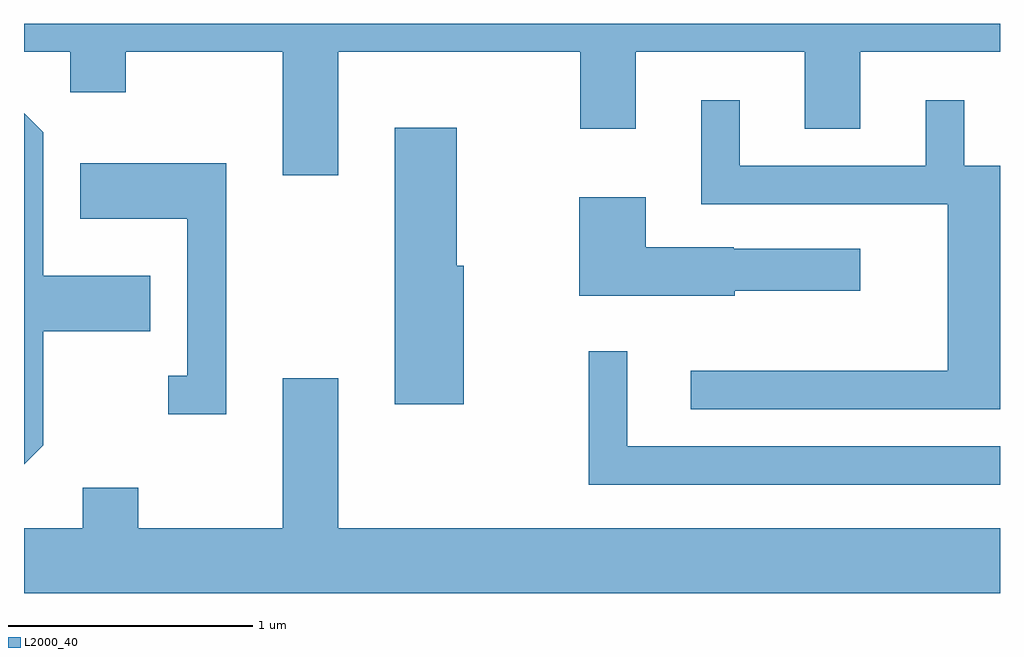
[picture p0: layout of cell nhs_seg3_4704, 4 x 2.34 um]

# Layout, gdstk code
import gdstk
lib = gdstk.Library(unit=1e-6, precision=1e-09)
def P(c, l, *ps):  # polygons
    for p in ps: c.add(gdstk.Polygon(p, *l))
L2000_40 = (2000, 40)

nhs_seg3_4704 = lib.new_cell('nhs_seg3_4704')
P(nhs_seg3_4704, L2000_40, [(324.899,1143.776),(325.891,1143.776),(325.891,1143.461),(326.119,1143.461),(326.119,1143.776),(326.811,1143.776),(326.811,1143.461),(327.039,1143.461),(327.039,1143.776),(327.611,1143.776),(327.611,1143.892),(323.611,1143.892),(323.611,1143.776),(323.801,1143.776),(323.801,1143.611),(324.029,1143.611),(324.029,1143.776),(324.671,1143.776),(324.671,1143.271),(324.899,1143.271)],
  [(327.611,1143.309),(327.464,1143.309),(327.464,1143.578),(327.306,1143.578),(327.306,1143.309),(326.544,1143.309),(326.544,1143.578),(326.386,1143.578),(326.386,1143.151),(327.396,1143.151),(327.396,1142.469),(326.343,1142.469),(326.343,1142.311),(327.611,1142.311)],
  [(323.689,1142.164),(323.689,1142.631),(324.129,1142.631),(324.129,1142.859),(323.689,1142.859),(323.689,1143.447),(323.611,1143.525),(323.611,1142.086)],
  [(325.414,1142.899),(325.384,1142.899),(325.384,1143.464),(325.131,1143.464),(325.131,1142.331),(325.414,1142.331)],
  [(324.439,1143.319),(323.841,1143.319),(323.841,1143.091),(324.281,1143.091),(324.281,1142.449),(324.203,1142.449),(324.203,1142.291),(324.439,1142.291)],
  [(326.524,1142.796),(327.039,1142.796),(327.039,1142.969),(326.52,1142.969),(326.52,1142.974),(326.159,1142.974),(326.159,1143.179),(325.886,1143.179),(325.886,1142.776),(326.524,1142.776)],
  [(327.611,1142.159),(326.084,1142.159),(326.084,1142.548),(325.926,1142.548),(325.926,1142.001),(327.611,1142.001)],
  [(327.611,1141.824),(324.899,1141.824),(324.899,1142.439),(324.671,1142.439),(324.671,1141.824),(324.079,1141.824),(324.079,1141.989),(323.851,1141.989),(323.851,1141.824),(323.611,1141.824),(323.611,1141.556),(327.611,1141.556)])

lib.write_gds('nhs_seg3_4704.gds')
